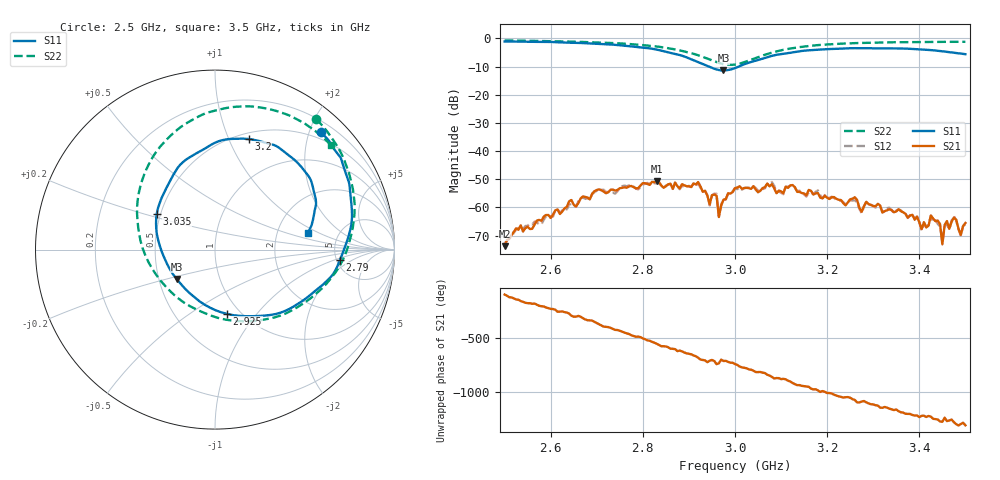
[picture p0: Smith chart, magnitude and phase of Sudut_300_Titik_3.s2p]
# Hz S RI R 50
! CMT, C1220, 16058040, 17.2.0/1
! Date: 15/08/2018 10:44:47
! Data: Format (Calibration Info)
! Freq  S11: Re/Im (F2)  S21: Re/Im (F2)  S12: Re/Im (F2)  S22: Re/Im (F2)
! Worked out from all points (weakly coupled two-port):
!   201 points, 2.5 GHz to 3.5 GHz, reference 50 ohm
!   highest |S21| = -50.78 dB at 2.83 GHz (marker M1); lowest = -73.8 dB at 2.5 GHz (marker M2)
!   lowest |S11| = -11.4 dB at 2.975 GHz (marker M3), VSWR 1.74, Z = 30.9 - j10.9 ohm
!   |S11| at or under -10 dB: 2.944 GHz to 3.008 GHz (64.3 MHz wide, 2.16 % of centre)
!   |S22| runs from -9.4 to -0.7 dB; largest |S21 - S12| = 0.0003
!   S11 on the Smith chart (normalised r, x): 2.5 GHz: 0.37, +2.20; 2.79 GHz: 5.38, -1.18; 2.925 GHz: 0.87, -0.72; 3.035 GHz: 0.48, +0.22; 3.2 GHz: 0.56, +1.18; 3.5 GHz: 2.99, +0.77
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2.5e9  0.5925 0.6536  -2.79e-06 -0.000205  -1.13e-05 -0.000228  0.5638 0.7258
2.67e9  0.7511 0.3428  0.00103 0.00117  0.00111 0.00101  0.7368 0.4535
2.79e9  0.697 -0.0562  -0.00119 -0.00185  -0.00124 -0.00168  0.7651 0.1085
2.83e9  0.6026 -0.194  -0.00286 0.000437  -0.00264 0.000394  0.7171 -0.0468
2.835e9  0.5834 -0.2098  -0.00265 0.000988  -0.00256 0.000866  0.7068 -0.0679
2.925e9  0.067 -0.3581  0.00215 0.000959  0.002 0.000973  0.2947 -0.3858
2.945e9  -0.0544 -0.3089  0.00111 0.000254  0.00104 0.000282  0.1381 -0.3988
2.96e9  -0.1406 -0.2432  0.00152 -0.000526  0.00166 -0.000521  0.0167 -0.3806
2.965e9  -0.1679 -0.217  0.000659 -0.000136  0.000658 -0.000197  -0.0235 -0.3674
2.975e9  -0.2143 -0.1636  0.00135 0.000244  0.00137 0.000285  -0.1001 -0.3353
3e9  -0.2964 -0.0122  0.00209 -0.000686  0.00201 -0.000829  -0.2731 -0.2073
3.035e9  -0.3244 0.2009  0.000693 -0.00201  0.000685 -0.00205  -0.4154 0.0499
3.17e9  0.0871 0.6165  -0.000461 0.00162  -0.000624 0.0016  -0.092 0.7414
3.2e9  0.1871 0.6162  0.000457 0.00141  0.000512 0.00142  0.0189 0.7789
3.335e9  0.4893 0.4502  0.000256 -0.00089  0.000206 -0.000964  0.3925 0.7556
3.405e9  0.5554 0.3062  -0.000315 -0.000263  -0.000335 -0.000187  0.5188 0.6888
3.425e9  0.5631 0.2598  -0.000611 -0.00038  -0.000562 -0.000392  0.5488 0.6688
3.445e9  0.5552 0.2179  -0.00049 0.000116  -0.000443 0.000114  0.5778 0.6454
3.45e9  0.5535 0.2055  -0.000213 5.75e-05  -0.000251 1.7e-05  0.5849 0.6404
3.46e9  0.5485 0.1783  -0.000563 9.19e-05  -0.000499 5.41e-05  0.5976 0.6303
3.49e9  0.5264 0.1113  -0.000256 0.000199  -0.000259 0.00018  0.6332 0.5948
3.5e9  0.5163 0.0936  -0.000346 0.000398  -0.000308 0.000394  0.6445 0.5839
